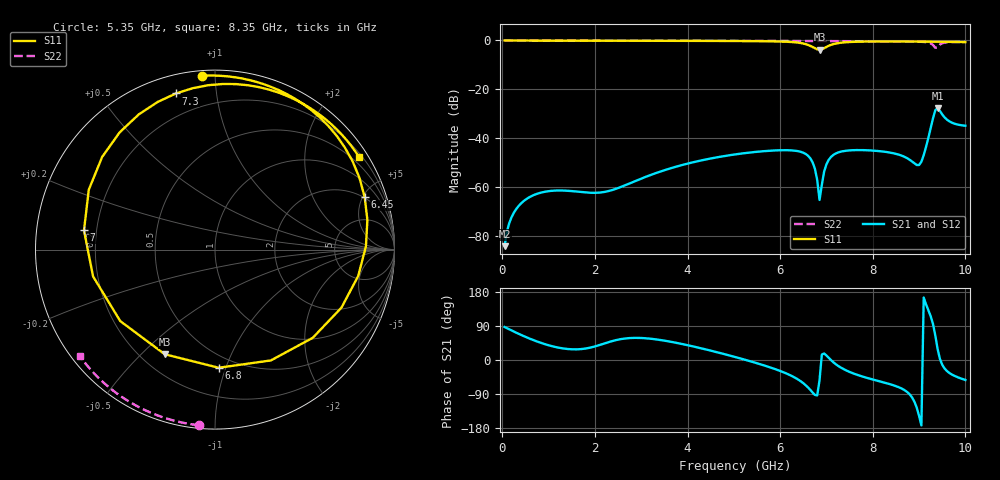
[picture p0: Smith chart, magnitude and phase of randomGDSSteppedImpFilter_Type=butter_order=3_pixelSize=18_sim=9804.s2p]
! freq	dB(S11)	phase(S11)	dB(S12)	phase(S12)
!  dB(S21)	phase(S21)	dB(S22)	phase(S22)
!S-par simulation data
#  GHz  S  DB  R 50
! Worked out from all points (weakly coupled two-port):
!   200 points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, 50 MHz to 10 GHz, reference 50 ohm
!   highest |S21| = -27.75 dB at 9.4 GHz (marker M1); lowest = -84.4 dB at 50 MHz (marker M2)
!   lowest |S11| = -3.8 dB at 6.85 GHz (marker M3), VSWR 4.66, Z = 14.7 - j29.5 ohm
!   |S11| at or under -10 dB: nowhere
!   |S22| runs from -3.0 to 0.0 dB; largest |S21 - S12| = 0
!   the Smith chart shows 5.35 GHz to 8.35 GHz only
!   S11 on the Smith chart (normalised r, x): 5.35 GHz: 0.03, +0.93; 6.45 GHz: 1.95, +5.18; 6.8 GHz: 0.41, -0.95; 7 GHz: 0.15, +0.07; 7.3 GHz: 0.09, +0.78; 8.35 GHz: 0.29, +3.39
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0.05  -0.00 -5.2  -84.38 87.0  -84.38 87.0  -0.00 -1.0
0.35  -0.05 -35.1  -67.95 69.3  -67.95 69.3  -0.01 -6.7
0.8  -0.09 -75.0  -62.60 46.7  -62.60 46.7  -0.02 -15.3
1.75  -0.11 -134.9  -62.26 29.4  -62.26 29.4  -0.04 -33.1
2.5  -0.12 -167.3  -60.53 53.7  -60.53 53.7  -0.06 -46.8
3.4  -0.14 161.0  -53.85 53.0  -53.85 53.0  -0.08 -62.7
5.05  -0.22 105.8  -46.68 7.2  -46.68 7.2  -0.14 -90.4
5.35  -0.25 94.3  -45.96 -3.1  -45.96 -3.1  -0.15 -95.2
6.05  -0.46 58.9  -45.02 -31.3  -45.02 -31.3  -0.19 -106.2
6.45  -1.07 19.3  -45.71 -56.6  -45.71 -56.6  -0.21 -112.4
6.7  -2.69 -42.1  -49.95 -85.7  -49.95 -85.7  -0.23 -116.3
6.8  -3.63 -88.2  -57.21 -93.5  -57.21 -93.5  -0.23 -117.8
6.85  -3.78 -115.7  -65.41 -53.8  -65.41 -53.8  -0.24 -118.6
7  -2.64 171.7  -50.76 11.9  -50.76 11.9  -0.25 -120.9
7.15  -1.49 129.1  -46.93 -6.1  -46.93 -6.1  -0.26 -123.2
7.3  -0.95 104.1  -45.66 -19.3  -45.66 -19.3  -0.27 -125.5
7.75  -0.48 64.3  -44.97 -42.6  -44.97 -42.6  -0.31 -132.4
8.35  -0.41 32.7  -45.92 -63.0  -45.92 -63.0  -0.37 -141.8
9  -0.47 4.8  -51.08 -147.6  -51.08 -147.6  -0.52 -153.7
9.3  -0.55 -7.1  -31.98 95.4  -31.98 95.4  -1.84 -163.9
9.4  -0.53 -10.8  -27.75 29.0  -27.75 29.0  -2.78 -150.3
10  -0.68 -34.6  -34.98 -52.7  -34.98 -52.7  -0.59 -163.7
